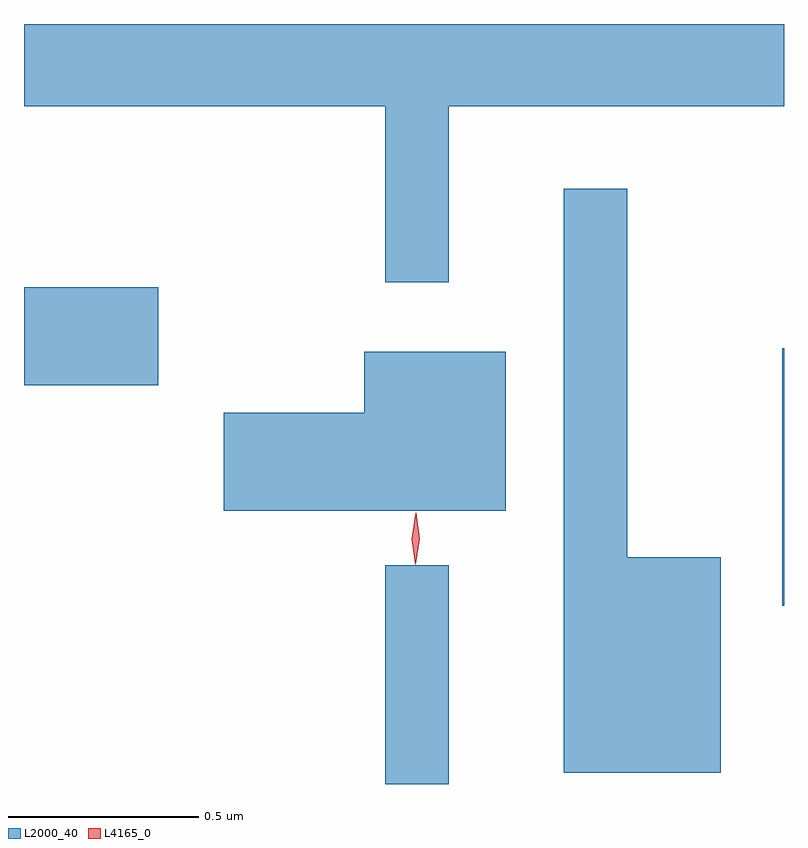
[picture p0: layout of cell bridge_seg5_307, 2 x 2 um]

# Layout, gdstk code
import gdstk
lib = gdstk.Library(unit=1e-6, precision=1e-09)
def R(c, l, rs):  # rectangles x0, y0, x1, y1
    for r in rs: c.add(gdstk.rectangle(r[:2], r[2:], *l))
def P(c, l, *ps):  # polygons
    for p in ps: c.add(gdstk.Polygon(p, *l))
L2000_40 = (2000, 40)
L4165_0 = (4165, 0)

bridge_seg5_307 = lib.new_cell('bridge_seg5_307')
R(bridge_seg5_307, L2000_40, [(689.691,1519.392,689.859,1519.968), (690.736,1519.861,690.741,1520.539), (688.741,1520.441,689.094,1520.699)])
P(bridge_seg5_307, L2000_40, [(689.859,1521.176),(690.741,1521.176),(690.741,1521.392),(688.741,1521.392),(688.741,1521.176),(689.691,1521.176),(689.691,1520.713),(689.859,1520.713)],
  [(690.574,1519.989),(690.329,1519.989),(690.329,1520.958),(690.161,1520.958),(690.161,1519.421),(690.574,1519.421)],
  [(690.009,1520.529),(689.636,1520.529),(689.636,1520.369),(689.266,1520.369),(689.266,1520.111),(690.009,1520.111)])
P(bridge_seg5_307, L4165_0, [(689.77,1519.97),(689.762,1520.038),(689.772,1520.106),(689.772,1520.106),(689.773,1520.106),(689.782,1520.038),(689.772,1519.97),(689.771,1519.97)],
  [(689.771,1519.973),(689.77,1519.974),(689.761,1520.036),(689.77,1520.099),(689.77,1520.1),(689.771,1520.099),(689.781,1520.036),(689.772,1519.974)])

lib.write_gds('bridge_seg5_307.gds')
